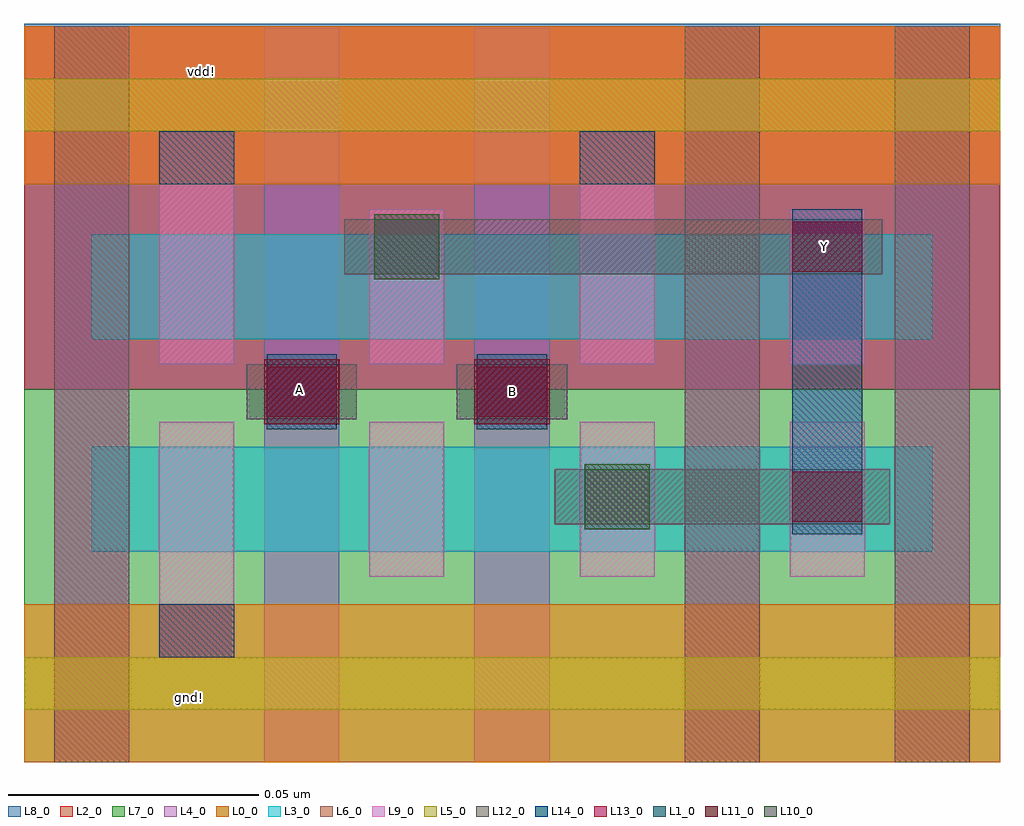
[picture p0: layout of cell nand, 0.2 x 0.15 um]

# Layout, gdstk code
from math import pi, radians
import gdstk
lib = gdstk.Library(unit=1e-6, precision=5e-10)
def R(c, l, rs):  # rectangles x0, y0, x1, y1
    for r in rs: c.add(gdstk.rectangle(r[:2], r[2:], *l))
def A(c, l, x, y, w, h, nx, ny, dx, dy):  # array of equal rectangles
    R(c, l, [(x+i*dx, y+j*dy, x+i*dx+w, y+j*dy+h) for i in range(nx) for j in range(ny)])
L0_0 = (0, 0)
L1_0 = (1, 0)
L2_0 = (2, 0)
L3_0 = (3, 0)
L4_0 = (4, 0)
L5_0 = (5, 0)
L6_0 = (6, 0)
L7_0 = (7, 0)
L8_0 = (8, 0)
L9_0 = (9, 0)
L10_0 = (10, 0)
L11_0 = (11, 0)
L12_0 = (12, 0)
L13_0 = (13, 0)
L14_0 = (14, 0)

nmos = lib.new_cell('nmos')
R(nmos, L3_0, [(-0.042,-0.0105,0.042,0.0105)])
A(nmos, L4_0, -0.0495, -0.032, 0.015, 0.064, 3, 1, 0.042, 0)
R(nmos, L7_0, [(-0.0555,-0.021,0.0555,0.0205)])
R(nmos, L9_0, [(-0.0285,-0.0155,-0.0135,0.0155), (0.0135,-0.0155,0.0285,0.0155)])

pmos = lib.new_cell('pmos')
R(pmos, L2_0, [(-0.042,-0.0205,0.042,0.0205)])
R(pmos, L3_0, [(-0.042,-0.0105,0.042,0.0105)])
A(pmos, L4_0, -0.0495, -0.032, 0.015, 0.064, 3, 1, 0.042, 0)
R(pmos, L8_0, [(-0.0555,-0.0205,0.0555,0.0205)])
R(pmos, L9_0, [(-0.0285,-0.0155,-0.0135,0.0155), (0.0135,-0.0155,0.0285,0.0155)])

bpr_m0a = lib.new_cell('BPR_M0A')
R(bpr_m0a, L0_0, [(-0.021,-0.0055,0.021,0.026)])
R(bpr_m0a, L1_0, [(-0.0075,-0.0055,0.0075,0.005)])
R(bpr_m0a, L9_0, [(-0.0075,-0.0165,0.0075,0.005)])

m0a_m0b = lib.new_cell('M0A_M0B')
R(m0a_m0b, L9_0, [(-0.0075,-0.0055,0.0075,0.0055)])
R(m0a_m0b, L10_0, [(-0.0065,-0.0065,0.0065,0.0065)])
R(m0a_m0b, L12_0, [(-0.0125,-0.0055,0.0125,0.0055)])

m0b_m1 = lib.new_cell('M0B_M1')
R(m0b_m1, L12_0, [(-0.011,-0.005,0.011,0.005)])
R(m0b_m1, L13_0, [(-0.007,-0.005,0.007,0.005)])
R(m0b_m1, L14_0, [(-0.007,-0.0075,0.007,0.0075)])

gate_m0b = lib.new_cell('GATE_M0B')
R(gate_m0b, L4_0, [(-0.0075,-0.0115,0.0075,0.0115)])
R(gate_m0b, L11_0, [(-0.0075,-0.0065,0.0075,0.0065)])
R(gate_m0b, L12_0, [(-0.011,-0.0055,0.011,0.0055)])

nand = lib.new_cell('nand')
R(nand, L0_0, [(0.1045,0.057,0.2155,0.0885), (0.1465,0.057,0.2995,0.0885), (0.133,0.0665,0.142,0.074), (0.1045,0.1725,0.2155,0.204), (0.1465,0.1725,0.2995,0.204), (0.137,0.192,0.143,0.198)])
R(nand, L2_0, [(0.1045,0.1315,0.2155,0.204), (0.1465,0.1315,0.2995,0.204)])
A(nand, L4_0, 0.1105, 0.057, 0.015, 0.147, 5, 1, 0.042, 0)
R(nand, L4_0, [(0.2785,0.057,0.2935,0.204)])
R(nand, L5_0, [(0.1045,0.0675,0.2995,0.078), (0.1045,0.183,0.2995,0.1935)])
R(nand, L6_0, [(0.1105,0.057,0.1255,0.204), (0.2365,0.057,0.2515,0.204), (0.2785,0.057,0.2935,0.204)])
R(nand, L7_0, [(0.1045,0.057,0.2155,0.1315), (0.1465,0.057,0.2995,0.1315)])
R(nand, L8_0, [(0.1045,0.132,0.2155,0.2045), (0.1465,0.133,0.2995,0.2045)])
R(nand, L12_0, [(0.2105,0.1045,0.2775,0.1155), (0.1685,0.1545,0.276,0.1655)])
R(nand, L14_0, [(0.258,0.1025,0.272,0.1675), (0.1575,0.129,0.162,0.134), (0.2,0.1295,0.204,0.133), (0.262,0.1575,0.2675,0.1625)])
nand.add(gdstk.Reference(nmos, (0.244,0.1095), rotation=pi, x_reflection=True))
nand.add(gdstk.Reference(nmos, (0.16,0.1095), rotation=pi, x_reflection=True))
nand.add(gdstk.Reference(pmos, (0.16,0.152), rotation=pi, x_reflection=True))
nand.add(gdstk.Reference(pmos, (0.202,0.152), rotation=pi, x_reflection=True))
nand.add(gdstk.Reference(pmos, (0.244,0.152), rotation=pi, x_reflection=True))
nand.add(gdstk.Reference(bpr_m0a, (0.139,0.178), rotation=pi, x_reflection=True))
nand.add(gdstk.Reference(bpr_m0a, (0.139,0.083), x_reflection=True))
nand.add(gdstk.Reference(bpr_m0a, (0.223,0.178), rotation=pi, x_reflection=True))
nand.add(gdstk.Reference(m0a_m0b, (0.181,0.16)))
nand.add(gdstk.Reference(m0a_m0b, (0.223,0.11)))
nand.add(gdstk.Reference(m0b_m1, (0.265,0.16)))
nand.add(gdstk.Reference(m0b_m1, (0.265,0.11)))
nand.add(gdstk.Reference(m0b_m1, (0.202,0.131)))
nand.add(gdstk.Reference(m0b_m1, (0.16,0.131)))
nand.add(gdstk.Reference(gate_m0b, (0.202,0.131)))
nand.add(gdstk.Reference(gate_m0b, (0.16,0.131)))
nand.add(gdstk.Label('Y', (0.2645,0.16), layer=14, texttype=0))
nand.add(gdstk.Label('A', (0.1595,0.1315), layer=14, texttype=0))
nand.add(gdstk.Label('B', (0.202,0.131), layer=14, texttype=0))
nand.add(gdstk.Label('gnd!', (0.1375,0.07), layer=0, texttype=0))
nand.add(gdstk.Label('vdd!', (0.14,0.195), layer=0, texttype=0))

lib.write_gds('nand.gds')
